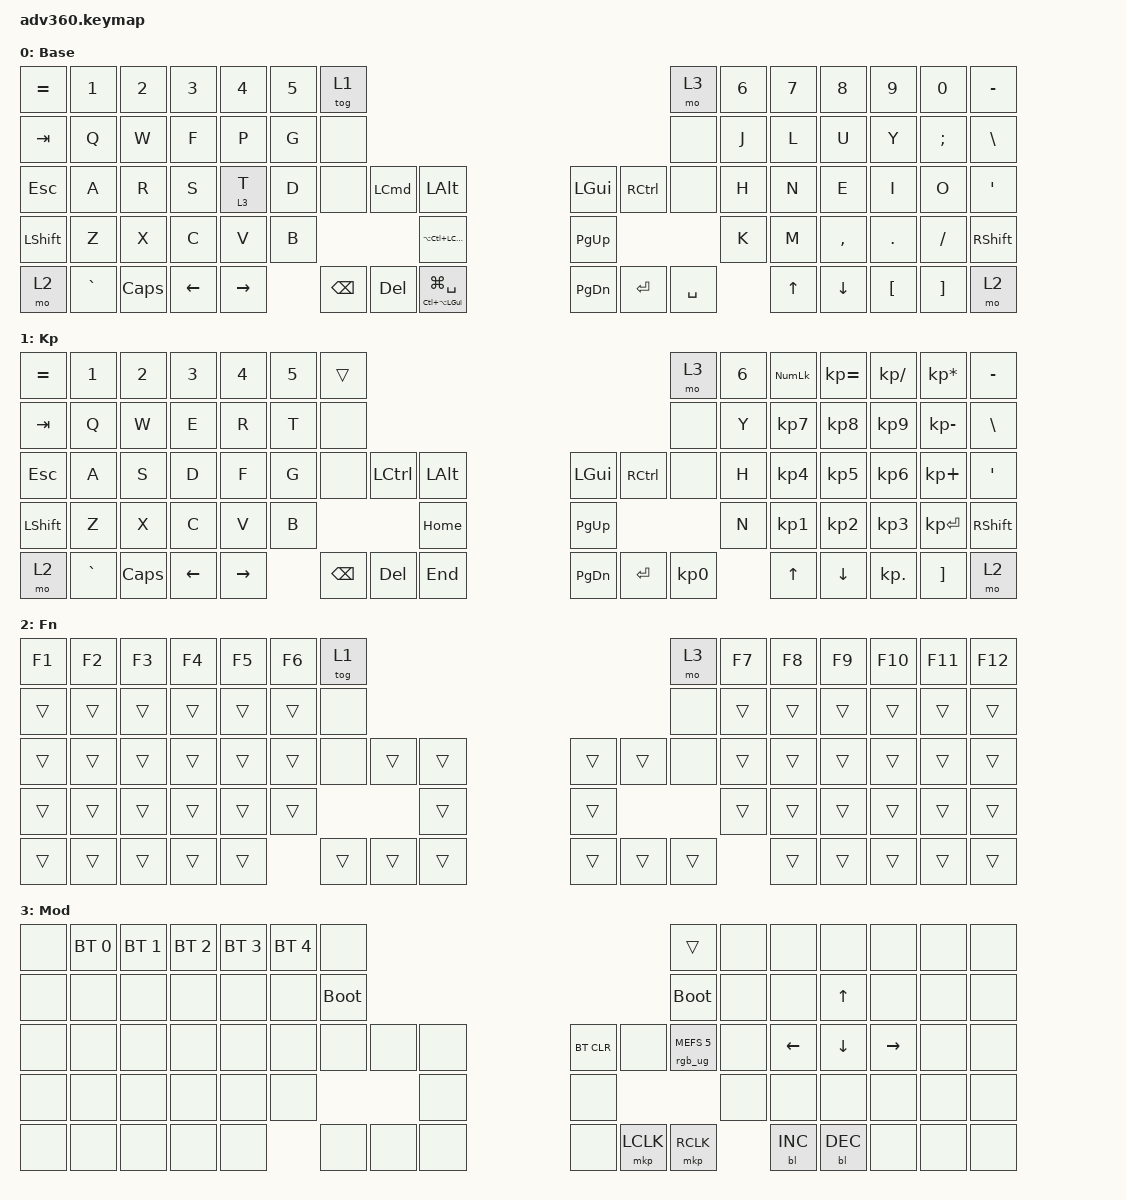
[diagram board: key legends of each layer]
#include <dt-bindings/zmk/stp.h>
#include <behaviors.dtsi>
#include <dt-bindings/zmk/backlight.h>
#include <dt-bindings/zmk/bt.h>
#include <dt-bindings/zmk/keys.h>
#include <dt-bindings/zmk/pointing.h>
#include <dt-bindings/zmk/rgb.h>

/ {
    behaviors {
        #include "macros.dtsi"
      #include "version.dtsi"

        hm: homerow_mods {
            compatible = "zmk,behavior-hold-tap";
            label = "HOMEROW_MODS";
            #binding-cells = <2>;
            tapping-term-ms = <200>;
            quick_tap_ms = <175>;
            flavor = "tap-preferred";
            bindings = <&kp>, <&kp>;
        };
    };

    keymap {
        compatible = "zmk,keymap";

        default_layer {
            display-name = "Base";
            bindings = <
&kp EQUAL  &kp N1     &kp N2    &kp N3    &kp N4     &kp N5  &tog 1                                                                               &mo 3      &kp N6  &kp N7  &kp N8     &kp N9      &kp N0         &kp MINUS
&kp TAB    &kp Q      &kp W     &kp F     &kp P      &kp G   &none                                                                                &none      &kp J   &kp L   &kp U      &kp Y       &kp SEMICOLON  &kp BSLH
&kp ESC    &kp A      &kp R     &kp S     &lt 3 T    &kp D   &none          &kp LCMD    &kp LALT                            &kp LGUI   &kp RCTRL  &none      &kp H   &kp N   &kp E      &kp I       &kp O          &kp SQT
&kp LSHFT  &kp Z      &kp X     &kp C     &kp V      &kp B                              &kp LA(LC(LCMD))                    &kp PG_UP                        &kp K   &kp M   &kp COMMA  &kp PERIOD  &kp FSLH       &kp RSHFT
&mo 2      &kp GRAVE  &kp CAPS  &kp LEFT  &kp RIGHT          &kp BACKSPACE  &kp DELETE  &mt LC(LA(LEFT_GUI)) LG(SPACE)      &kp PG_DN  &kp ENTER  &kp SPACE          &kp UP  &kp DOWN   &kp LBKT    &kp RBKT       &mo 2
            >;
        };

        keypad {
            display-name = "Kp";
            bindings = <
&kp EQUAL  &kp N1     &kp N2    &kp N3    &kp N4     &kp N5  &trans                                                   &mo 3      &kp N6  &kp KP_NUM  &kp KP_EQUAL  &kp KP_DIVIDE  &kp KP_MULTIPLY  &kp MINUS
&kp TAB    &kp Q      &kp W     &kp E     &kp R      &kp T   &none                                                    &none      &kp Y   &kp KP_N7   &kp KP_N8     &kp KP_N9      &kp KP_MINUS     &kp BSLH
&kp ESC    &kp A      &kp S     &kp D     &kp F      &kp G   &none     &kp LCTRL  &kp LALT      &kp LGUI   &kp RCTRL  &none      &kp H   &kp KP_N4   &kp KP_N5     &kp KP_N6      &kp KP_PLUS      &kp SQT
&kp LSHFT  &kp Z      &kp X     &kp C     &kp V      &kp B                        &kp HOME      &kp PG_UP                        &kp N   &kp KP_N1   &kp KP_N2     &kp KP_N3      &kp KP_ENTER     &kp RSHFT
&mo 2      &kp GRAVE  &kp CAPS  &kp LEFT  &kp RIGHT          &kp BSPC  &kp DEL    &kp END       &kp PG_DN  &kp ENTER  &kp KP_N0          &kp UP      &kp DOWN      &kp KP_DOT     &kp RBKT         &mo 2
            >;
        };

        fn {
            display-name = "Fn";
            bindings = <
&kp F1  &kp F2  &kp F3  &kp F4  &kp F5  &kp F6  &tog 1                                      &mo 3   &kp F7  &kp F8  &kp F9  &kp F10  &kp F11  &kp F12
&trans  &trans  &trans  &trans  &trans  &trans  &none                                       &none   &trans  &trans  &trans  &trans   &trans   &trans
&trans  &trans  &trans  &trans  &trans  &trans  &none   &trans  &trans      &trans  &trans  &none   &trans  &trans  &trans  &trans   &trans   &trans
&trans  &trans  &trans  &trans  &trans  &trans                  &trans      &trans                  &trans  &trans  &trans  &trans   &trans   &trans
&trans  &trans  &trans  &trans  &trans          &trans  &trans  &trans      &trans  &trans  &trans          &trans  &trans  &trans   &trans   &trans
            >;
        };

        mod {
            display-name = "Mod";
            bindings = <
&none  &bt BT_SEL 0  &bt BT_SEL 1  &bt BT_SEL 2  &bt BT_SEL 3  &bt BT_SEL 4  &none                                                 &trans                  &none  &none           &none       &none      &none  &none
&none  &none         &none         &none         &none         &none         &bootloader                                           &bootloader             &none  &none           &kp UP      &none      &none  &none
&none  &none         &none         &none         &none         &none         &none        &none  &none      &bt BT_CLR  &none      &rgb_ug RGB_MEFS_CMD 5  &none  &kp LEFT_ARROW  &kp DOWN    &kp RIGHT  &none  &none
&none  &none         &none         &none         &none         &none                             &none      &none                                          &none  &none           &none       &none      &none  &none
&none  &none         &none         &none         &none                       &none        &none  &none      &none       &mkp LCLK  &mkp RCLK                      &bl BL_INC      &bl BL_DEC  &none      &none  &none
            >;
        };

        extra1 {
            display-name = "Red";
            status = "reserved";
        };

        extra2 {
            display-name = "Purple";
            status = "reserved";
        };

        extra3 {
            display-name = "Cyan";
            status = "reserved";
        };

        extra4 {
            display-name = "Yellow";
            status = "reserved";
        };
    };
};
